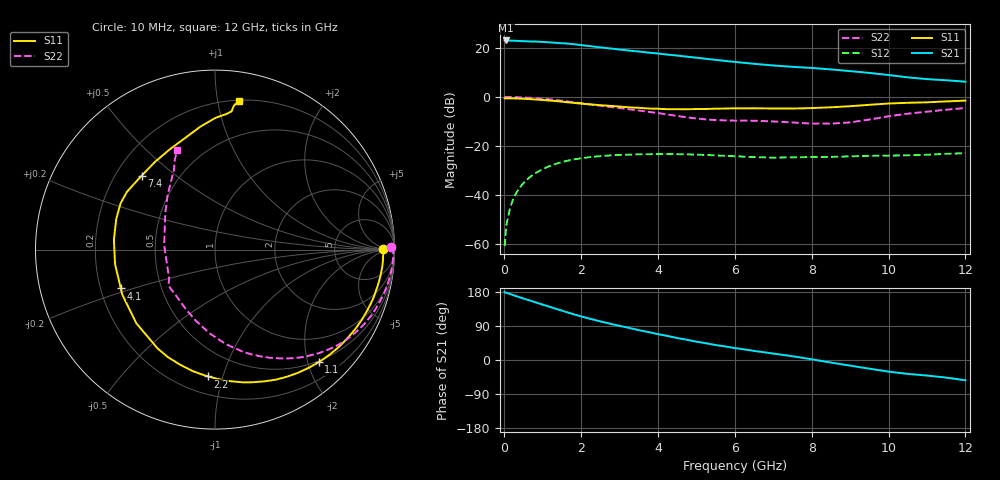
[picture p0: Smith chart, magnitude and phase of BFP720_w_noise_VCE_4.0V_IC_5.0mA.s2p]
! Infineon Technologies  Discrete & RF Semiconductors
! BFP720
! VCE =  4.0 V,  IC =  5.0 mA
! Common Emitter S-Parameters:  Aug 2012
# GHz  S  MA  R  50
!  f  S11  S21  S12  S22
! GHz  MAG  ANG  MAG  ANG  MAG  ANG  MAG  ANG
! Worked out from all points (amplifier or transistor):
!   105 points, 10 MHz to 12 GHz, reference 50 ohm
!   highest |S21| = 23.0 dB at 50 MHz (marker M1)
!   |S21| within 3 dB of that: start of sweep to 2.606 GHz
!   unconditionally stable (mu >= 1): 6.511 GHz to 11.42 GHz
!   at 300 MHz: K = 0.10, MSG = 31.2 dB, |S12| = -39.6 dB
!   at 3.6 GHz: K = 0.49, MSG = 20.9 dB, |S12| = -23.4 dB
!   at 12 GHz: K = 0.80, MSG = 14.6 dB, |S12| = -23.0 dB
!   lowest NFmin = 0.39 dB at 450 MHz
!   S11 on the Smith chart (normalised r, x): 10 MHz: 29, +1; 1.1 GHz: 0.48, -2.20; 2.2 GHz: 0.32, -0.89; 4.1 GHz: 0.29, -0.18; 7.4 GHz: 0.31, +0.38; 12 GHz: 0.21, +1.16
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0.01  0.9334 0.1  14.16 179.7  0.0009 -29.4  0.9819 0.7
0.02  0.9385 -0.7  14.06 178.4  0.001 52.4  0.9933 -0.5
0.05  0.9373 -2.0  14.19 177.5  0.0022 65.9  0.9927 -1.4
0.3  0.9285 -12.7  13.94 168.9  0.0105 79.1  0.986 -8.6
0.8  0.8871 -34.2  13.54 152.6  0.0273 67.9  0.9446 -23.0
1.1  0.8533 -47.3  13.09 143.0  0.0365 60.1  0.9035 -31.6
1.6  0.7834 -69.6  12.36 126.9  0.0489 47.7  0.8164 -45.0
1.8  0.7565 -77.9  11.9 120.8  0.0528 42.9  0.779 -50.0
2.1  0.7182 -89.5  11.17 112.4  0.0573 36.5  0.725 -56.7
2.2  0.7081 -93.2  10.95 109.6  0.0587 34.5  0.7081 -58.9
2.6  0.6695 -107.1  10.06 99.4  0.0628 27.2  0.6468 -66.9
3  0.6368 -120.2  9.272 90.0  0.0655 21.0  0.5932 -74.4
3.5  0.6005 -136.9  8.438 78.8  0.0675 14.1  0.5291 -83.6
4.1  0.5677 -157.6  7.523 66.3  0.0681 7.0  0.455 -95.7
4.5  0.5627 -171.8  6.982 58.0  0.0679 2.6  0.4098 -105.3
5  0.566 174.4  6.311 48.3  0.0664 -2.1  0.3628 -118.2
6.1  0.5853 152.6  5.084 30.1  0.0611 -8.1  0.3287 -139.1
7.4  0.5799 134.9  4.165 11.3  0.0582 -7.9  0.3039 -147.3
8.5  0.6134 114.1  3.64 -6.7  0.0597 -9.0  0.2844 174.8
9.5  0.6897 96.8  3.087 -22.9  0.0629 -10.4  0.345 143.3
10.5  0.7583 85.2  2.505 -36.7  0.0641 -12.7  0.4545 122.5
12  0.8401 80.7  2.048 -53.5  0.0708 -17.3  0.5942 110.7
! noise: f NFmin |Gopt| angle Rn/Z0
0.45  0.39  0.49  4  0.18
1.8  0.49  0.47  25  0.14
2.4  0.53  0.34  60  0.19
5.5  0.68  0.22  65  0.13
10  0.97  0.4  -93  0.22
